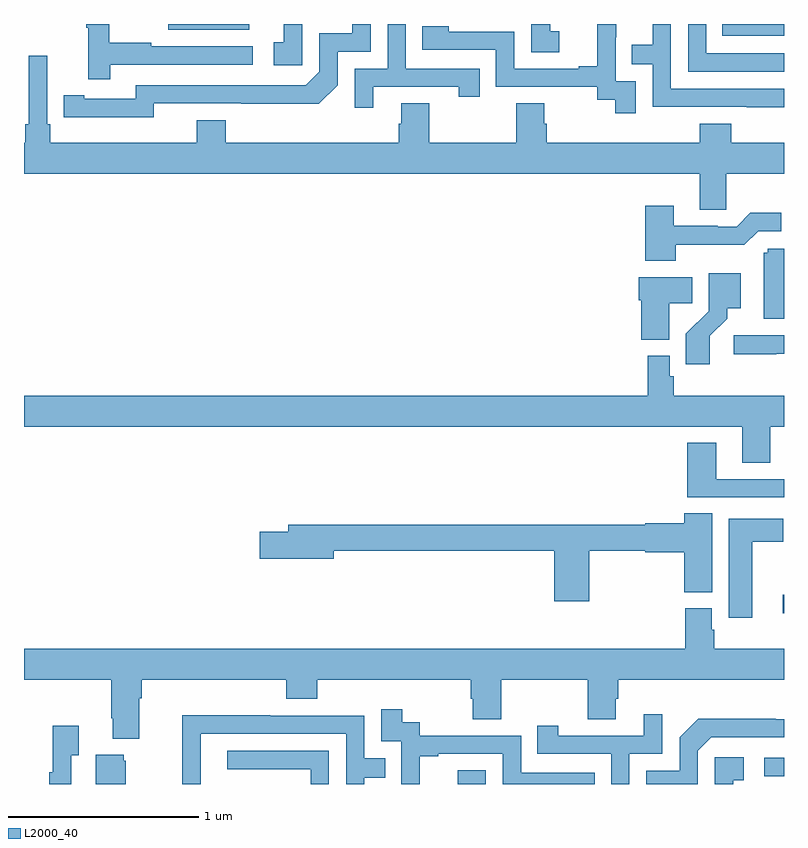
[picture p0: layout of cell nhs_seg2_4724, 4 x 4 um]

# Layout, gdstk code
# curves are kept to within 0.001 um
import gdstk
lib = gdstk.Library(unit=1e-6, precision=1e-09)
def R(c, l, rs):  # rectangles x0, y0, x1, y1
    for r in rs: c.add(gdstk.rectangle(r[:2], r[2:], *l))
def P(c, l, *ps):  # polygons
    for p in ps: c.add(gdstk.Polygon(p, *l))
L2000_40 = (2000, 40)

nhs_seg2_4724 = lib.new_cell('nhs_seg2_4724')
R(nhs_seg2_4724, L2000_40, [(371.283,601.8,371.43,601.873), (372.897,601.842,373,601.938), (372.993,602.699,373,602.796), (372.676,605.738,373,605.8), (369.759,605.771,370.186,605.8)])
P(nhs_seg2_4724, L2000_40, [(369.684,605.382),(370.552,605.381),(370.65,605.478),(370.65,605.655),(370.824,605.655),(370.824,605.8),(370.727,605.8),(370.727,605.751),(370.554,605.751),(370.554,605.55),(370.482,605.478),(369.588,605.478),(369.588,605.406),(369.316,605.406),(369.316,605.426),(369.208,605.426),(369.208,605.31),(369.684,605.309)],
  [(372.219,605.499),(372.114,605.499),(372.114,605.729),(372.116,605.729),(372.116,605.8),(372.017,605.8),(372.017,605.578),(371.921,605.578),(371.921,605.565),(371.58,605.565),(371.58,605.76),(371.235,605.76),(371.235,605.787),(371.095,605.787),(371.095,605.664),(371.484,605.664),(371.484,605.469),(372.018,605.469),(372.018,605.401),(372.111,605.401),(372.111,605.331),(372.219,605.331)],
  [(370.837,605.469),(371.288,605.469),(371.288,605.418),(371.399,605.418),(371.399,605.565),(371.01,605.565),(371.01,605.8),(370.914,605.8),(370.914,605.565),(370.74,605.565),(370.74,605.358),(370.837,605.358)],
  [(371.818,605.761),(371.769,605.761),(371.769,605.8),(371.67,605.8),(371.67,605.652),(371.818,605.652)],
  [(369.455,605.586),(370.204,605.586),(370.204,605.682),(369.671,605.682),(369.671,605.702),(369.448,605.702),(369.448,605.8),(369.327,605.8),(369.327,605.779),(369.338,605.779),(369.338,605.508),(369.455,605.508)],
  [(373,605.46),(372.405,605.46),(372.405,605.8),(372.309,605.8),(372.309,605.69),(372.199,605.69),(372.199,605.589),(372.309,605.589),(372.309,605.364),(372.805,605.364),(372.805,605.363),(373,605.363)],
  [(370.464,605.8),(370.367,605.8),(370.367,605.703),(370.314,605.703),(370.314,605.583),(370.464,605.583)],
  [(373,605.646),(372.591,605.646),(372.591,605.8),(372.495,605.8),(372.495,605.55),(373,605.55)],
  [(372.696,605.012),(373,605.012),(373,605.176),(372.722,605.176),(372.722,605.275),(372.557,605.275),(372.557,605.176),(371.75,605.176),(371.75,605.274),(371.737,605.274),(371.737,605.384),(371.59,605.384),(371.59,605.176),(371.133,605.176),(371.133,605.384),(370.985,605.384),(370.985,605.274),(370.973,605.274),(370.973,605.176),(370.061,605.176),(370.061,605.293),(369.908,605.293),(369.908,605.176),(369.137,605.176),(369.137,605.272),(369.123,605.272),(369.123,605.632),(369.026,605.632),(369.026,605.272),(369.007,605.272),(369.007,605.176),(369,605.176),(369,605.012),(372.557,605.012),(372.557,604.822),(372.696,604.822)],
  [(372.429,604.638),(372.791,604.638),(372.864,604.71),(372.985,604.71),(372.985,604.807),(372.823,604.807),(372.75,604.734),(372.65,604.734),(372.65,604.737),(372.421,604.737),(372.421,604.843),(372.269,604.843),(372.269,604.553),(372.429,604.553)],
  [(373,604.617),(372.915,604.617),(372.915,604.596),(372.893,604.596),(372.893,604.248),(373,604.248)],
  [(372.61,604.159),(372.7,604.249),(372.7,604.304),(372.772,604.304),(372.772,604.489),(372.605,604.489),(372.605,604.44),(372.603,604.44),(372.603,604.289),(372.484,604.17),(372.484,604.008),(372.61,604.008)],
  [(372.397,604.33),(372.518,604.33),(372.518,604.468),(372.236,604.468),(372.236,604.347),(372.248,604.347),(372.248,604.139),(372.397,604.139)],
  [(372.959,604.065),(373,604.065),(373,604.161),(372.735,604.161),(372.735,604.063),(372.959,604.063)],
  [(372.927,603.68),(373,603.68),(373,603.844),(372.419,603.844),(372.419,603.945),(372.399,603.945),(372.399,604.054),(372.283,604.054),(372.283,603.844),(369,603.844),(369,603.68),(372.779,603.68),(372.779,603.49),(372.927,603.49)],
  [(373,603.405),(372.643,603.405),(372.643,603.595),(372.491,603.595),(372.491,603.309),(373,603.309)],
  [(371.975,603.028),(372.27,603.028),(372.27,603.02),(372.476,603.02),(372.476,602.809),(372.622,602.809),(372.622,603.224),(372.476,603.224),(372.476,603.172),(372.27,603.172),(372.27,603.164),(370.391,603.164),(370.391,603.128),(370.242,603.128),(370.242,602.986),(370.63,602.986),(370.63,603.028),(371.792,603.028),(371.792,602.763),(371.975,602.763)],
  [(372.832,603.074),(372.997,603.074),(372.997,603.196),(372.71,603.196),(372.71,602.676),(372.832,602.676)],
  [(369.607,602.252),(369.62,602.252),(369.62,602.348),(370.379,602.348),(370.379,602.249),(370.544,602.249),(370.544,602.348),(371.351,602.348),(371.351,602.25),(371.363,602.25),(371.363,602.14),(371.511,602.14),(371.511,602.348),(371.968,602.348),(371.968,602.14),(372.115,602.14),(372.115,602.25),(372.128,602.25),(372.128,602.348),(373,602.348),(373,602.512),(372.632,602.512),(372.632,602.613),(372.619,602.613),(372.619,602.724),(372.479,602.724),(372.479,602.512),(369,602.512),(369,602.348),(369.46,602.348),(369.46,602.146),(369.467,602.146),(369.467,602.039),(369.607,602.039)],
  [(371.084,601.947),(371.179,601.947),(371.179,601.959),(371.52,601.959),(371.52,601.8),(372.005,601.8),(372.005,601.86),(371.616,601.86),(371.616,602.055),(371.082,602.055),(371.082,602.124),(370.99,602.124),(370.99,602.194),(370.881,602.194),(370.881,602.025),(370.986,602.025),(370.986,601.8),(371.084,601.8)],
  [(372.186,601.959),(372.36,601.959),(372.36,602.167),(372.263,602.167),(372.263,602.055),(371.812,602.055),(371.812,602.107),(371.701,602.107),(371.701,601.959),(372.09,601.959),(372.09,601.8),(372.186,601.8)],
  [(369.93,601.81),(369.931,601.81),(369.931,602.064),(370.695,602.064),(370.695,601.8),(370.791,601.8),(370.791,601.834),(370.901,601.834),(370.901,601.935),(370.791,601.935),(370.791,602.16),(370.295,602.16),(370.295,602.162),(369.832,602.162),(369.832,601.855),(369.834,601.855),(369.834,601.8),(369.93,601.8)],
  [(372.546,601.974),(372.618,602.046),(373,602.046),(373,602.142),(372.956,602.142),(372.956,602.144),(372.548,602.144),(372.45,602.046),(372.45,601.869),(372.276,601.869),(372.276,601.8),(372.546,601.8)],
  [(369.249,601.951),(369.289,601.951),(369.289,602.107),(369.152,602.107),(369.152,601.862),(369.133,601.862),(369.133,601.8),(369.249,601.8)],
  [(370.605,601.974),(370.071,601.974),(370.071,601.878),(370.509,601.878),(370.509,601.8),(370.605,601.8)],
  [(369.535,601.923),(369.524,601.923),(369.524,601.954),(369.377,601.954),(369.377,601.8),(369.535,601.8)],
  [(372.734,601.821),(372.787,601.821),(372.787,601.942),(372.636,601.942),(372.636,601.8),(372.734,601.8)])

lib.write_gds('nhs_seg2_4724.gds')
